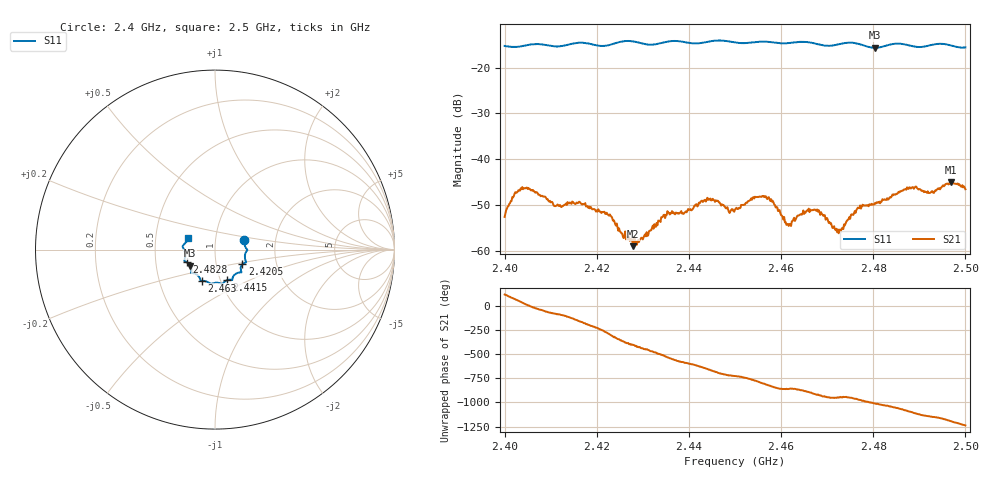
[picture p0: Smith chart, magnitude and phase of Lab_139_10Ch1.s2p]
# Hz S RI R 50
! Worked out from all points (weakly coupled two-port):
!   601 points, 2.4 GHz to 2.5 GHz, reference 50 ohm
!   highest |S21| = -45.07 dB at 2.4968 GHz (marker M1); lowest = -59.0 dB at 2.4278 GHz (marker M2)
!   lowest |S11| = -15.7 dB at 2.4803 GHz (marker M3), VSWR 1.39, Z = 37.4 - j6.84 ohm
!   |S11| at or under -10 dB: start of sweep to end of sweep
!   S12 and S22 are empty: the file has one direction only
!   S11 on the Smith chart (normalised r, x): 2.4 GHz: 1.38, +0.15; 2.4205 GHz: 1.34, -0.23; 2.4415 GHz: 1.07, -0.38; 2.463 GHz: 0.82, -0.29; 2.4828 GHz: 0.72, -0.10; 2.5 GHz: 0.73, +0.10
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2.4e9  0.1638 0.0521  -0.00124 0.00199  0 0  0 0
2.402167e9  0.1653 0.0273  0.000993 0.00409  0 0  0 0
2.404333e9  0.173 0.00773  0.00436 0.00208  0 0  0 0
2.411167e9  0.1674 -0.0276  0.000589 -0.00304  0 0  0 0
2.416667e9  0.173 -0.0699  -0.00313 -0.000917  0 0  0 0
2.4205e9  0.152 -0.0818  -0.00159 0.00223  0 0  0 0
2.427833e9  0.1448 -0.1273  0.000865 -0.000722  0 0  0 0
2.433333e9  0.1002 -0.1515  -0.00155 -0.00147  0 0  0 0
2.4415e9  0.0657 -0.1709  -0.000881 0.00309  0 0  0 0
2.444833e9  0.0436 -0.189  0.00216 0.00283  0 0  0 0
2.45e9  0.024 -0.186  0.00281 -0.000242  0 0  0 0
2.456167e9  -0.022 -0.1904  0.000414 -0.00387  0 0  0 0
2.461333e9  -0.0592 -0.1744  -0.0015 -0.00126  0 0  0 0
2.463e9  -0.0722 -0.1737  -0.00159 -0.00141  0 0  0 0
2.466667e9  -0.0822 -0.167  -0.00277 0.00011  0 0  0 0
2.472667e9  -0.1242 -0.1302  -0.00116 0.00124  0 0  0 0
2.476833e9  -0.1322 -0.1237  -0.000931 0.00277  0 0  0 0
2.480333e9  -0.1377 -0.0891  0.00119 0.00309  0 0  0 0
2.482833e9  -0.1586 -0.0701  0.00248 0.0026  0 0  0 0
2.483333e9  -0.1626 -0.0683  0.00271 0.00244  0 0  0 0
2.496833e9  -0.172 0.0286  -0.00226 -0.0051  0 0  0 0
2.5e9  -0.1527 0.0643  -0.00439 -0.0017  0 0  0 0
